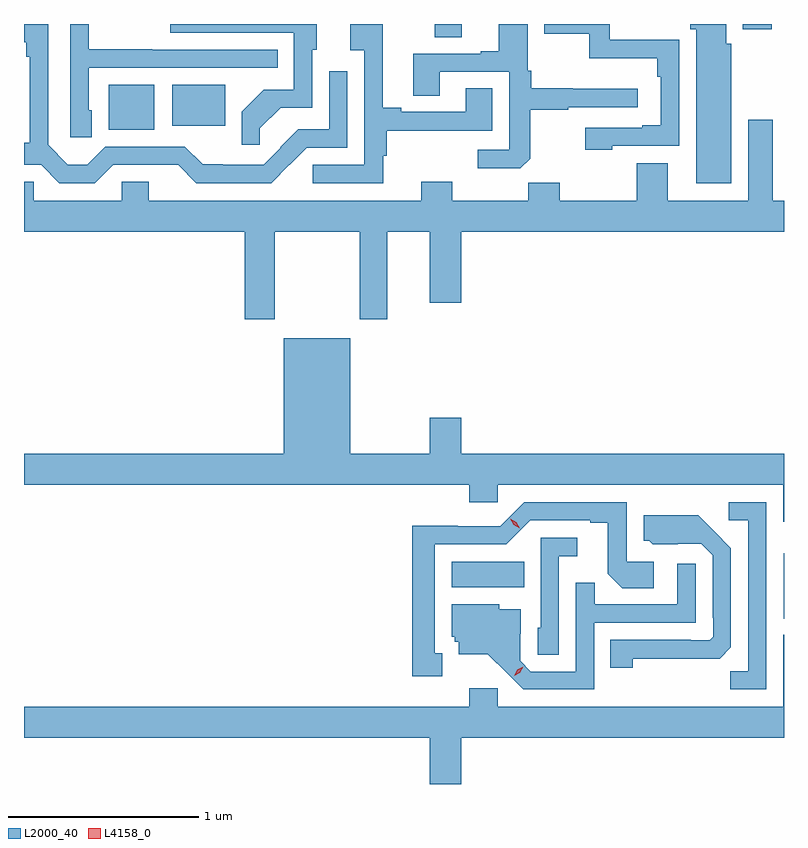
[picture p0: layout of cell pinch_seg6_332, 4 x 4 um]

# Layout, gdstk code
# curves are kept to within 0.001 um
import gdstk
lib = gdstk.Library(unit=1e-6, precision=1e-09)
def R(c, l, rs):  # rectangles x0, y0, x1, y1
    for r in rs: c.add(gdstk.rectangle(r[:2], r[2:], *l))
def P(c, l, *ps):  # polygons
    for p in ps: c.add(gdstk.Polygon(p, *l))
L2000_40 = (2000, 40)
L4158_0 = (4158, 0)

pinch_seg6_332 = lib.new_cell('pinch_seg6_332')
R(pinch_seg6_332, L2000_40, [(730.307,938.639,730.308,938.983), (728.558,938.804,728.942,938.938), (726.755,941.213,726.994,941.449), (727.088,941.234,727.366,941.449), (728.471,941.698,728.611,941.769), (730.091,941.742,730.244,941.769)])
P(pinch_seg6_332, L2000_40, [(729.405,941.127),(729.756,941.127),(729.756,941.685),(729.39,941.685),(729.39,941.769),(729.045,941.769),(729.045,941.719),(729.282,941.719),(729.282,941.588),(729.64,941.588),(729.64,941.492),(729.66,941.492),(729.66,941.236),(729.563,941.236),(729.563,941.223),(729.261,941.223),(729.261,941.108),(729.405,941.108)],
  [(728.973,941.061),(728.973,941.319),(729.173,941.319),(729.173,941.331),(729.538,941.331),(729.538,941.428),(729.197,941.428),(729.197,941.432),(728.978,941.432),(728.978,941.524),(728.958,941.524),(728.958,941.769),(728.807,941.769),(728.807,941.626),(728.711,941.626),(728.711,941.613),(728.357,941.613),(728.357,941.392),(728.497,941.392),(728.497,941.517),(728.862,941.517),(728.862,941.106),(728.697,941.106),(728.697,941.01),(728.921,941.01)],
  [(730.03,941.664),(730.003,941.664),(730.003,941.769),(729.815,941.769),(729.815,941.741),(729.845,941.741),(729.845,940.931),(730.03,940.931)],
  [(728.198,941.075),(728.216,941.075),(728.216,941.206),(728.773,941.206),(728.773,941.432),(728.633,941.432),(728.633,941.307),(728.293,941.307),(728.293,941.327),(728.197,941.327),(728.197,941.769),(728.025,941.769),(728.025,941.63),(728.1,941.63),(728.1,941.028),(727.827,941.028),(727.827,940.932),(728.198,940.932)],
  [(726.777,941.028),(727.121,941.027),(727.215,940.932),(727.609,940.932),(727.797,941.118),(728.01,941.118),(728.01,941.521),(727.914,941.521),(727.914,941.214),(727.751,941.214),(727.657,941.12),(727.659,941.118),(727.569,941.028),(727.354,941.028),(727.354,941.03),(727.25,941.03),(727.155,941.124),(726.735,941.124),(726.64,941.029),(726.539,941.029),(726.435,941.133),(726.435,941.769),(726.308,941.769),(726.308,941.674),(726.319,941.674),(726.319,941.597),(726.338,941.597),(726.338,941.144),(726.308,941.144),(726.308,941.028),(726.398,941.028),(726.494,940.932),(726.681,940.932)],
  [(726.664,941.316),(726.648,941.316),(726.648,941.538),(727.643,941.538),(727.643,941.634),(726.983,941.634),(726.983,941.635),(726.649,941.635),(726.649,941.769),(726.552,941.769),(726.552,941.173),(726.664,941.173)],
  [(727.55,941.22),(727.658,941.328),(727.824,941.328),(727.824,941.634),(727.849,941.634),(727.849,941.769),(727.079,941.769),(727.079,941.724),(727.728,941.724),(727.728,941.424),(727.571,941.424),(727.455,941.308),(727.455,941.133),(727.55,941.133)],
  [(730.308,940.84),(730.25,940.84),(730.25,941.266),(730.121,941.266),(730.121,940.84),(729.697,940.84),(729.697,941.035),(729.533,941.035),(729.533,940.84),(729.127,940.84),(729.127,940.933),(728.963,940.933),(728.963,940.84),(728.563,940.84),(728.563,940.939),(728.399,940.939),(728.399,940.84),(726.964,940.84),(726.964,940.938),(726.822,940.938),(726.822,940.84),(726.36,940.84),(726.36,940.938),(726.308,940.938),(726.308,940.676),(727.469,940.676),(727.469,940.215),(727.629,940.215),(727.629,940.676),(728.074,940.676),(728.074,940.215),(728.221,940.215),(728.221,940.676),(728.444,940.676),(728.444,940.302),(728.608,940.302),(728.608,940.676),(730.308,940.676)],
  [(730.308,939.508),(728.608,939.508),(728.608,939.697),(728.444,939.697),(728.444,939.508),(728.026,939.508),(728.026,940.114),(727.676,940.114),(727.676,939.508),(726.308,939.508),(726.308,939.344),(728.651,939.344),(728.651,939.251),(728.802,939.251),(728.802,939.344),(730.304,939.344),(730.304,939.15),(730.308,939.15)],
  [(730.215,939.252),(730.017,939.252),(730.017,939.156),(730.119,939.156),(730.119,938.363),(730.024,938.363),(730.024,938.268),(730.215,938.268)],
  [(728.509,938.457),(728.47,938.457),(728.47,939.03),(728.847,939.03),(728.973,939.156),(729.287,939.156),(729.287,939.144),(729.381,939.144),(729.381,938.876),(729.457,938.8),(729.622,938.8),(729.622,938.94),(729.48,938.94),(729.48,939.252),(728.94,939.252),(728.814,939.126),(728.592,939.126),(728.592,939.128),(728.352,939.128),(728.352,938.337),(728.509,938.337)],
  [(729.513,938.428),(729.97,938.429),(730.029,938.488),(730.029,939.01),(729.857,939.184),(729.569,939.184),(729.569,939.048),(729.6,939.048),(729.616,939.032),(729.873,939.033),(729.933,938.973),(729.933,938.644),(729.936,938.644),(729.936,938.544),(729.918,938.526),(729.818,938.526),(729.818,938.529),(729.394,938.529),(729.394,938.382),(729.513,938.382)],
  [(729.123,938.969),(729.22,938.969),(729.22,939.066),(729.027,939.066),(729.027,938.592),(729.012,938.592),(729.012,938.449),(729.123,938.449)],
  [(729.309,938.619),(729.843,938.619),(729.843,938.929),(729.747,938.929),(729.747,938.715),(729.311,938.715),(729.311,938.828),(729.213,938.828),(729.213,938.361),(728.976,938.361),(728.919,938.418),(728.919,938.56),(728.923,938.56),(728.923,938.689),(728.808,938.689),(728.808,938.716),(728.558,938.716),(728.558,938.544),(728.574,938.544),(728.574,938.517),(728.597,938.517),(728.597,938.453),(728.749,938.453),(728.936,938.268),(729.309,938.268)],
  [(728.608,938.012),(730.308,938.012),(730.308,938.554),(730.304,938.554),(730.304,938.176),(728.802,938.176),(728.802,938.272),(728.651,938.272),(728.651,938.176),(726.308,938.176),(726.308,938.012),(728.444,938.012),(728.444,937.769),(728.608,937.769)])
P(pinch_seg6_332, L4158_0, [(728.888,938.34),(728.888,938.34),(728.904,938.37),(728.935,938.385),(728.935,938.385),(728.935,938.385),(728.918,938.355),(728.888,938.34)],
  [(728.917,939.114),(728.886,939.133),(728.868,939.165),(728.868,939.166),(728.868,939.166),(728.9,939.147),(728.918,939.114),(728.918,939.114)])

lib.write_gds('pinch_seg6_332.gds')
